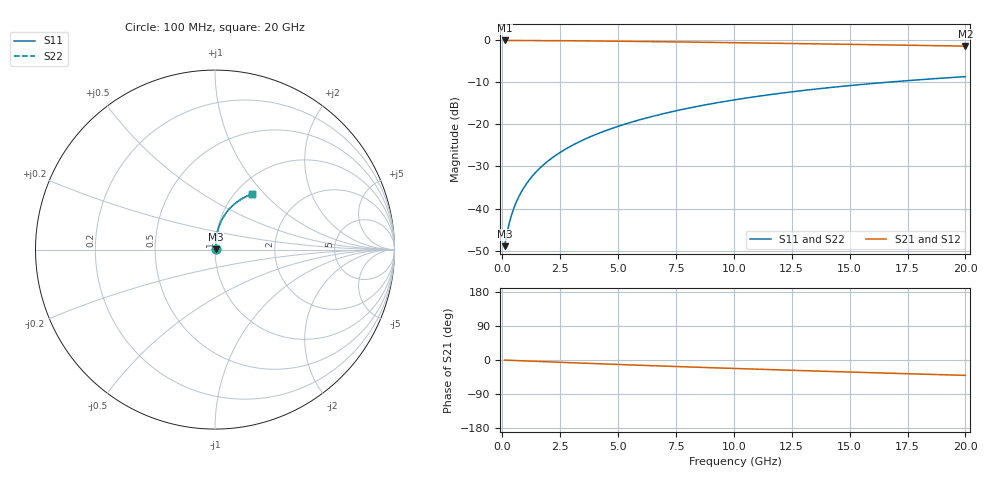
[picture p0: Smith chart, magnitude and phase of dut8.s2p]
! Touchstone file exported from HFSS 2024.1.0
!  File:  C:/UserFiles/LocalFiles/RDL_TSV_Batchsim/temp_RDL_bottom_8_1778691150.aedt
!  Generated:  12:55:12 AM May 14, 2026
!  Design:  RDL_bottom
!  Project:  temp_RDL_bottom_8_1778691150
!  Setup:  Setup1
!  Solution:  Sweep
! Variables:
!  dtsv = 10.80580581um
!  hbump = 3um
!  htsv = 51.77um
!  ldown = 590.67um
!  lrdl = 100um
!  p = 40
!  p1 = 46.14um
!  rhole = 1um
!  t = 450um
!  tdown = 3.72um
!  trdl = 3.915915916um
!  wdown = 20.41um
!  wrdl = 20um
# GHz S MA R 50.000000
! Terminal data exported
! Port[1] = RDL1_T1
! Port[2] = RDL1_T2
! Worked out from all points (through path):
!   200 points, 100 MHz to 20 GHz, reference 50 ohm
!   highest |S21| = -0.03 dB at 100 MHz (marker M1); lowest = -1.4 dB at 20 GHz (marker M2)
!   group delay of S21, straight-line fit = 5.59 ps
!   lowest |S11| = -49.0 dB at 100 MHz (marker M3), VSWR 1.01, Z = 50.3 + j0.204 ohm
!   |S11| at or under -10 dB: start of sweep to 16.54 GHz
!   |S22| runs from -49.0 to -8.6 dB; largest |S21 - S12| = 3.1e-15
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0.1  0.003568 34.7  0.9971 -0.3  0.9971 -0.3  0.003568 34.7
! Gamma 0 0 0 0
! Port Impedance 50 0 50 0
0.2  0.005036 52.4  0.9969 -0.5  0.9969 -0.5  0.005036 52.4
0.3  0.006697 61.2  0.9967 -0.8  0.9967 -0.8  0.006697 61.2
0.4  0.008399 66.5  0.9965 -1.0  0.9965 -1.0  0.008399 66.5
0.5  0.01012 70.0  0.9964 -1.2  0.9964 -1.2  0.01012 70.0
0.6  0.01185 72.6  0.9962 -1.5  0.9962 -1.5  0.01185 72.6
0.8  0.01537 76.1  0.9959 -2.0  0.9959 -2.0  0.01537 76.1
1.1  0.02073 79.2  0.9953 -2.7  0.9953 -2.7  0.02073 79.2
1.3  0.02435 80.4  0.9948 -3.2  0.9948 -3.2  0.02435 80.4
1.6  0.02982 81.7  0.994 -3.9  0.994 -3.9  0.02982 81.7
2.1  0.03906 82.9  0.9924 -5.1  0.9924 -5.1  0.03906 82.9
2.7  0.0503 83.5  0.99 -6.5  0.99 -6.5  0.0503 83.5
3.5  0.06556 83.5  0.9861 -8.4  0.9861 -8.4  0.06556 83.5
4.2  0.07915 83.2  0.982 -10.0  0.982 -10.0  0.07916 83.2
5  0.09493 82.5  0.9769 -11.8  0.9769 -11.8  0.09493 82.5
5.9  0.1129 81.5  0.9706 -13.8  0.9706 -13.8  0.1129 81.5
6.8  0.1311 80.2  0.9639 -15.7  0.9639 -15.7  0.1311 80.2
8.4  0.1635 77.6  0.9514 -19.1  0.9514 -19.1  0.1635 77.6
10.1  0.1976 74.6  0.9375 -22.5  0.9375 -22.5  0.1976 74.6
13.4  0.261 68.4  0.91 -28.8  0.91 -28.8  0.261 68.5
16.7  0.3188 62.3  0.882 -34.8  0.882 -34.8  0.3188 62.3
20  0.3702 56.4  0.8543 -40.5  0.8543 -40.5  0.3703 56.4
